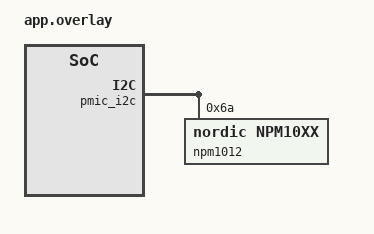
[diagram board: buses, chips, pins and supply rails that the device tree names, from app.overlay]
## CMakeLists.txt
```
cmake_minimum_required(VERSION 3.20.0)

find_package(Zephyr REQUIRED HINTS $ENV{ZEPHYR_BASE})

project(npm10xx_uicr_sample)

target_sources(app PRIVATE src/main.c)
```

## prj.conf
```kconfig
# Logging
CONFIG_LOG=y
CONFIG_LOG_BUFFER_SIZE=4096

# nPM10 drivers
CONFIG_CHARGER=y
CONFIG_MFD=y
CONFIG_OTP=y
CONFIG_OTP_PROGRAM=y
CONFIG_OTP_NPM10XX_DRY_RUN=y
```

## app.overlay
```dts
#include "i2c_config.dtsi"
#include <zephyr/dt-bindings/regulator/npm10xx.h>

&pmic_i2c {
	npm1012: pmic@6a {
		reg = <0x6a>;
		compatible = "nordic,npm10xx";

		npm1012_charger: charger {
			compatible = "nordic,npm10xx-charger";
			/* UICR programming requires highest VBUS current limit */
			vbus-limit-microamp = <300000>;
		};

		npm1012_uicr: otp {
			compatible = "nordic,npm10xx-uicr";
		};
	};
};
```

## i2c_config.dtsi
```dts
&pinctrl {
	pmic_i2c_default: pmic_i2c_default {
		group1 {
			/* change here to match your HW */
			psels = <NRF_PSEL(TWIM_SDA, 1, 11)>,
				<NRF_PSEL(TWIM_SCL, 1, 12)>;
			bias-pull-up;
		};
	};

	pmic_i2c_sleep: pmic_i2c_sleep {
		group1 {
			/* change here to match your HW */
			psels = <NRF_PSEL(TWIM_SDA, 1, 11)>,
				<NRF_PSEL(TWIM_SCL, 1, 12)>;
			low-power-enable;
		};
	};
};

/*
 * change to the appropriate &i2c* instance if needed
 * (note that I2C instances might be tied to certain GPIO ports)
 */
pmic_i2c: &i2c21 {
	status = "okay";
	pinctrl-0 = <&pmic_i2c_default>;
	pinctrl-1 = <&pmic_i2c_sleep>;
	pinctrl-names = "default", "sleep";
};
```

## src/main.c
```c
#include <zephyr/kernel.h>
#include <zephyr/drivers/mfd/npm10xx.h>
#include <zephyr/drivers/charger.h>
#include <zephyr/drivers/otp.h>

#define NPM10XX_UICR_LEN 13U
//static const uint8_t uicr_data[NPM10XX_UICR_LEN] = { 0xDE, 0xAD, 0x0B, 0xEE, 0xF0, 0xBA, 0xD0,
//						     0xA0, 0xBA, 0xD0, 0xBA, 0xBE, 0x00, };

static const struct device *npm1012 = DEVICE_DT_GET(DT_NODELABEL(npm1012));
static const struct device *npm1012_charger = DEVICE_DT_GET(DT_NODELABEL(npm1012_charger));
static const struct device *npm1012_uicr = DEVICE_DT_GET(DT_NODELABEL(npm1012_uicr));

int main(void)
{
	int ret;
	static union charger_propval val;

	printf("Should program bits: 6 7");
	//for (int i=0; i<NPM10XX_UICR_LEN; i++) {
	//	uint8_t byte = uicr_data[i];
	//	uint8_t j = 0;
	//	while (byte) {
	//		if (byte & 1U) {
	//			printf("%d ", 8 * i + j);
	//		}
	//		j++; byte >>= 1;
	//	}
	//}

	while (val.online == CHARGER_ONLINE_OFFLINE) {
		ret = charger_get_prop(npm1012_charger, CHARGER_PROP_ONLINE, &val);
		if (ret < 0) {
			printf("Error: failed to get VBUS status (%d)\n", ret);
			return ret;
		}
	}
	printf("VBUS connected, starting UICR programming...\n");

	ret = otp_program(npm1012_uicr, 0U, (uint8_t []){0xC0}, 1U);

	if (ret < 0) {
		printf("Error: UICR programming failed (%d)\n", ret);
	} else {
		printf("UICR programming success. Reseting PMIC...\n");
		k_sleep(K_SECONDS(2));
		(void)mfd_npm10xx_reset(npm1012);
	}

	return ret;
}
```
